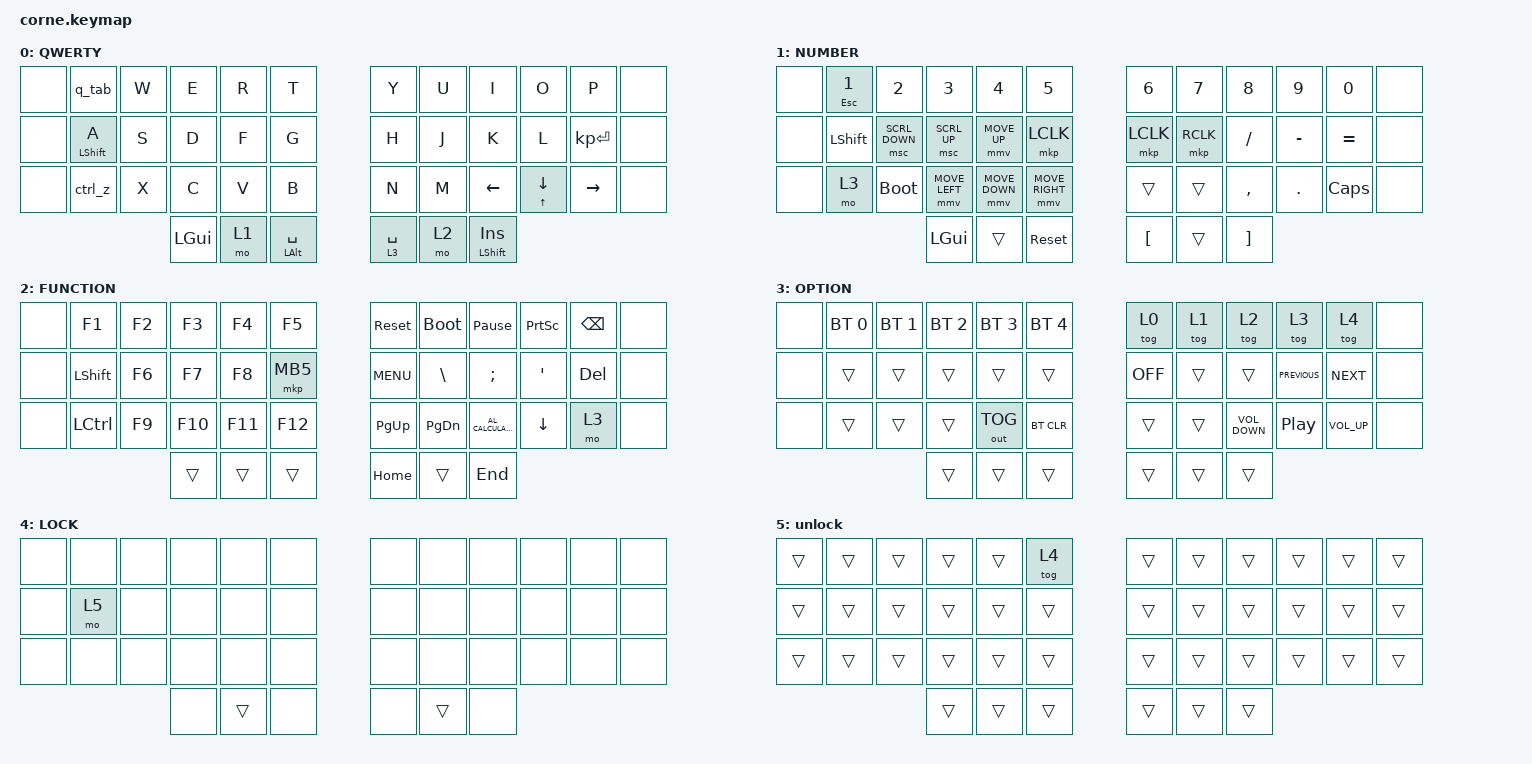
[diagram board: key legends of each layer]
/*
 * Copyright (c) 2020 The ZMK Contributors
 *
 * SPDX-License-Identifier: MIT
 */

#include <behaviors.dtsi>
#include <dt-bindings/zmk/bt.h>
#include <dt-bindings/zmk/keys.h>
#include <dt-bindings/zmk/outputs.h>
#include <dt-bindings/zmk/pointing.h>

/ {
    combos {
        compatible = "zmk,combos";

        tab {
            bindings = <&kp TAB>;
            key-positions = <1 0>;
        };

        caps {
            bindings = <&kp CAPSLOCK>;
            key-positions = <10 11 12>;
        };

        esc {
            bindings = <&kp ESC>;
            key-positions = <1 0 2>;
        };

        ctrlZ {
            bindings = <&kp LC(Z)>;
            key-positions = <20 21 22>;
        };
    };

    behaviors {
        ctrl_z: ctrl_z {
            compatible = "zmk,behavior-tap-dance";
            label = "CTRL_Z";
            #binding-cells = <0>;
            bindings = <&fast_hold LCTRL Z>, <&kp LC(Z)>;

            tapping-term-ms = <300>;
        };

        q_tab: q_tab {
            compatible = "zmk,behavior-mod-morph";
            label = "Q_TAB";
            bindings = <&kp Q>, <&kp TAB>;

            #binding-cells = <0>;
            mods = <(MOD_LALT|MOD_LGUI|MOD_LCTL)>;
            keep-mods = <(MOD_LCTL|MOD_LALT|MOD_LGUI)>;
        };

        long_hold: long_hold {
            compatible = "zmk,behavior-hold-tap";
            label = "LONG_HOLD";
            bindings = <&kp>, <&kp>;

            #binding-cells = <2>;
            tapping-term-ms = <250>;
            flavor = "tap-preferred";
        };

        OFF: OFF {
            compatible = "zmk,behavior-soft-off";
            label = "OFF";
            #binding-cells = <0>;
        };

        fast_hold: fast_hold {
            compatible = "zmk,behavior-hold-tap";
            label = "FAST_HOLD";
            bindings = <&kp>, <&kp>;

            #binding-cells = <2>;
            tapping-term-ms = <200>;
            flavor = "tap-preferred";
        };
    };

    keymap {
        compatible = "zmk,keymap";

        qwerty {
            display-name = "QWERTY";

            // -----------------------------------------------------------------------------------------
            // |  TAB |  Q  |  W  |  E  |  R  |  T  |   |  Y  |  U   |  I  |  O  |  P  | BSPC |
            // | CTRL |  A  |  S  |  D  |  F  |  G  |   |  H  |  J   |  K  |  L  |  ;  |  '   |
            // | SHFT |  Z  |  X  |  C  |  V  |  B  |   |  N  |  M   |  ,  |  .  |  /  | ESC  |
            //                    | GUI | LWR | SPC |   | ENT | RSE  | ALT |

            bindings = <
&none  &q_tab                   &kp W  &kp E     &kp R  &kp T             &kp Y        &kp U  &kp I               &kp O                    &kp P            &none
&none  &long_hold LEFT_SHIFT A  &kp S  &kp D     &kp F  &kp G             &kp H        &kp J  &kp K               &kp L                    &kp KP_ENTER     &none
&none  &ctrl_z                  &kp X  &kp C     &kp V  &kp B             &kp N        &kp M  &kp LEFT_ARROW      &mt UP_ARROW DOWN_ARROW  &kp RIGHT_ARROW  &none
                                       &kp LGUI  &mo 1  &mt LALT SPACE    &lt 3 SPACE  &mo 2  &mt LEFT_SHIFT INS
            >;
        };

        number {
            display-name = "NUMBER";

            // -----------------------------------------------------------------------------------------
            // |  TAB |  1  |  2  |  3  |  4  |  5  |   |  6  |  7  |  8  |  9  |  0  | BSPC |
            // | BTCLR| BT1 | BT2 | BT3 | BT4 | BT5 |   | LFT | DWN |  UP | RGT |     |      |
            // | SHFT |     |     |     |     |     |   |     |     |     |     |     |      |
            //                    | GUI |     | SPC |   | ENT |     | ALT |

            bindings = <
&none  &long_hold ESC NUMBER_1  &kp N2          &kp N3          &kp N4          &kp N5             &kp N6            &kp N7     &kp N8     &kp N9      &kp N0     &none
&none  &kp LEFT_SHIFT           &msc SCRL_DOWN  &msc SCRL_UP    &mmv MOVE_UP    &mkp LCLK          &mkp LCLK         &mkp RCLK  &kp FSLH   &kp MINUS   &kp EQUAL  &none
&none  &mo 3                    &bootloader     &mmv MOVE_LEFT  &mmv MOVE_DOWN  &mmv MOVE_RIGHT    &trans            &trans     &kp COMMA  &kp PERIOD  &kp CAPS   &none
                                                &kp LGUI        &trans          &sys_reset         &kp LEFT_BRACKET  &trans     &kp RBKT
            >;
        };

        function {
            display-name = "FUNCTION";

            // -----------------------------------------------------------------------------------------
            // |  TAB |  !  |  @  |  #  |  $  |  %  |   |  ^  |  &  |  *  |  (  |  )  | BSPC |
            // | CTRL |     |     |     |     |     |   |  -  |  =  |  [  |  ]  |  \  |  `   |
            // | SHFT |     |     |     |     |     |   |  _  |  +  |  {  |  }  | "|" |  ~   |
            //                    | GUI |     | SPC |   | ENT |     | ALT |

            bindings = <
&none  &kp F1          &kp F2  &kp F3   &kp F4   &kp F5      &sys_reset   &bootloader    &kp PAUSE_BREAK      &kp PSCRN       &kp BSPC    &none
&none  &kp LEFT_SHIFT  &kp F6  &kp F7   &kp F8   &mkp MB5    &kp C_MENU   &kp BACKSLASH  &kp SEMICOLON        &kp SQT         &kp DELETE  &none
&none  &kp LCTRL       &kp F9  &kp F10  &kp F11  &kp F12     &kp PAGE_UP  &kp PAGE_DOWN  &kp C_AL_CALCULATOR  &kp DOWN_ARROW  &mo 3       &none
                               &trans   &trans   &trans      &kp HOME     &trans         &kp END
            >;
        };

        option {
            bindings = <
&none  &bt BT_SEL 0  &bt BT_SEL 1  &bt BT_SEL 2  &bt BT_SEL 3  &bt BT_SEL 4    &tog 0  &tog 1  &tog 2             &tog 3            &tog 4           &none
&none  &trans        &trans        &trans        &trans        &trans          &OFF    &trans  &trans             &kp C_PREVIOUS    &kp C_NEXT       &none
&none  &trans        &trans        &trans        &out OUT_TOG  &bt BT_CLR      &trans  &trans  &kp C_VOLUME_DOWN  &kp C_PLAY_PAUSE  &kp C_VOLUME_UP  &none
                                   &trans        &trans        &trans          &trans  &trans  &trans
            >;

            label = "OPTION";
        };

        LOCK {
            bindings = <
&none  &none  &none  &none  &none   &none    &none  &none   &none  &none  &none  &none
&none  &mo 5  &none  &none  &none   &none    &none  &none   &none  &none  &none  &none
&none  &none  &none  &none  &none   &none    &none  &none   &none  &none  &none  &none
                     &none  &trans  &none    &none  &trans  &none
            >;

            label = "LOCK";
        };

        unlock {
            bindings = <
&trans  &trans  &trans  &trans  &trans  &tog 4    &trans  &trans  &trans  &trans  &trans  &trans
&trans  &trans  &trans  &trans  &trans  &trans    &trans  &trans  &trans  &trans  &trans  &trans
&trans  &trans  &trans  &trans  &trans  &trans    &trans  &trans  &trans  &trans  &trans  &trans
                        &trans  &trans  &trans    &trans  &trans  &trans
            >;

            label = "unlock";
        };
    };

    conditional_layers { compatible = "zmk,conditional-layers"; };
};
